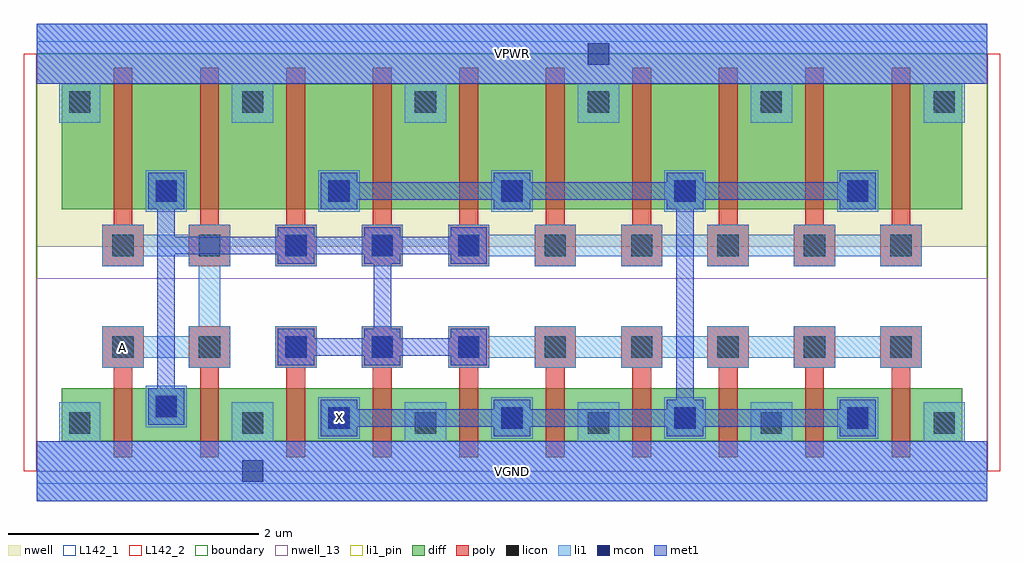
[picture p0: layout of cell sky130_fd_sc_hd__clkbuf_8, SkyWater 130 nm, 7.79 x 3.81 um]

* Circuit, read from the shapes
.subckt sky130_fd_sc_hd__clkbuf_8 A VGND VPWR X
XM1 n1 A VGND VSUBS sky130_fd_pr__nfet_01v8 w=0.42 l=0.15 m=2
XM2 X n1 VGND VSUBS sky130_fd_pr__nfet_01v8 w=0.42 l=0.15 m=8
XM3 n1 A VPWR n2 sky130_fd_pr__pfet_01v8 w=1 l=0.15 m=2
XM4 X n1 VPWR n2 sky130_fd_pr__pfet_01v8 w=1 l=0.15 m=8
.ends

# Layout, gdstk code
import gdstk
lib = gdstk.Library(unit=1e-6, precision=1e-09)
def R(c, l, rs):  # rectangles x0, y0, x1, y1
    for r in rs: c.add(gdstk.rectangle(r[:2], r[2:], *l))
def A(c, l, x, y, w, h, nx, ny, dx, dy):  # array of equal rectangles
    R(c, l, [(x+i*dx, y+j*dy, x+i*dx+w, y+j*dy+h) for i in range(nx) for j in range(ny)])
def P(c, l, *ps):  # polygons
    for p in ps: c.add(gdstk.Polygon(p, *l))
nwell_13 = (64, 13)
nwell = (64, 20)
diff = (65, 20)
poly = (66, 20)
licon = (66, 44)
li1_pin = (67, 16)
li1 = (67, 20)
mcon = (67, 44)
met1 = (68, 20)
L142_1 = (142, 1)
L142_2 = (142, 2)
boundary = (235, 4)

sky130_fd_sc_hd__clkbuf_ = lib.new_cell('sky130_fd_sc_hd__clkbuf_8')
R(sky130_fd_sc_hd__clkbuf_, nwell_13, [(0,0,7.59,1.54)])
R(sky130_fd_sc_hd__clkbuf_, nwell, [(0,1.79,7.59,3.33)])
A(sky130_fd_sc_hd__clkbuf_, diff, 0.615, 0.24, 0.69, 0.42, 9, 1, 0.69, 0)
A(sky130_fd_sc_hd__clkbuf_, diff, 0.615, 2.09, 0.69, 1, 9, 1, 0.69, 0)
R(sky130_fd_sc_hd__clkbuf_, diff, [(0.2,0.24,7.39,0.66), (0.2,0.24,0.615,0.66), (6.825,0.24,7.39,0.66), (0.2,2.09,7.39,3.09), (0.2,2.09,0.615,3.09), (6.825,2.09,7.39,3.09)])
P(sky130_fd_sc_hd__clkbuf_, poly, [(0.615,0.11),(0.615,0.825),(0.525,0.825),(0.525,1.155),(0.855,1.155),(0.855,0.825),(0.765,0.825),(0.765,0.11)],
  [(1.305,0.11),(1.305,0.825),(1.215,0.825),(1.215,1.155),(1.545,1.155),(1.545,0.825),(1.455,0.825),(1.455,0.11)],
  [(0.525,1.635),(0.525,1.965),(0.615,1.965),(0.615,3.22),(0.765,3.22),(0.765,1.965),(0.855,1.965),(0.855,1.635)],
  [(1.215,1.635),(1.215,1.965),(1.305,1.965),(1.305,3.22),(1.455,3.22),(1.455,1.965),(1.545,1.965),(1.545,1.635)],
  [(1.995,0.11),(1.995,0.825),(1.905,0.825),(1.905,1.155),(2.235,1.155),(2.235,0.825),(2.145,0.825),(2.145,0.11)],
  [(2.685,0.11),(2.685,0.825),(2.595,0.825),(2.595,1.155),(2.925,1.155),(2.925,0.825),(2.835,0.825),(2.835,0.11)],
  [(3.375,0.11),(3.375,0.825),(3.285,0.825),(3.285,1.155),(3.615,1.155),(3.615,0.825),(3.525,0.825),(3.525,0.11)],
  [(4.065,0.11),(4.065,0.825),(3.975,0.825),(3.975,1.155),(4.305,1.155),(4.305,0.825),(4.215,0.825),(4.215,0.11)],
  [(4.755,0.11),(4.755,0.825),(4.665,0.825),(4.665,1.155),(4.995,1.155),(4.995,0.825),(4.905,0.825),(4.905,0.11)],
  [(5.445,0.11),(5.445,0.825),(5.355,0.825),(5.355,1.155),(5.685,1.155),(5.685,0.825),(5.595,0.825),(5.595,0.11)],
  [(6.135,0.11),(6.135,0.825),(6.045,0.825),(6.045,1.155),(6.375,1.155),(6.375,0.825),(6.285,0.825),(6.285,0.11)],
  [(6.825,0.11),(6.825,0.825),(6.735,0.825),(6.735,1.155),(7.065,1.155),(7.065,0.825),(6.975,0.825),(6.975,0.11)],
  [(1.905,1.635),(1.905,1.965),(1.995,1.965),(1.995,3.22),(2.145,3.22),(2.145,1.965),(2.235,1.965),(2.235,1.635)],
  [(2.595,1.635),(2.595,1.965),(2.685,1.965),(2.685,3.22),(2.835,3.22),(2.835,1.965),(2.925,1.965),(2.925,1.635)],
  [(3.285,1.635),(3.285,1.965),(3.375,1.965),(3.375,3.22),(3.525,3.22),(3.525,1.965),(3.615,1.965),(3.615,1.635)],
  [(3.975,1.635),(3.975,1.965),(4.065,1.965),(4.065,3.22),(4.215,3.22),(4.215,1.965),(4.305,1.965),(4.305,1.635)],
  [(4.665,1.635),(4.665,1.965),(4.755,1.965),(4.755,3.22),(4.905,3.22),(4.905,1.965),(4.995,1.965),(4.995,1.635)],
  [(5.355,1.635),(5.355,1.965),(5.445,1.965),(5.445,3.22),(5.595,3.22),(5.595,1.965),(5.685,1.965),(5.685,1.635)],
  [(6.045,1.635),(6.045,1.965),(6.135,1.965),(6.135,3.22),(6.285,3.22),(6.285,1.965),(6.375,1.965),(6.375,1.635)],
  [(6.735,1.635),(6.735,1.965),(6.825,1.965),(6.825,3.22),(6.975,3.22),(6.975,1.965),(7.065,1.965),(7.065,1.635)])
A(sky130_fd_sc_hd__clkbuf_, licon, 0.26, 0.3, 0.17, 0.17, 6, 2, 1.38, 2.56)
A(sky130_fd_sc_hd__clkbuf_, licon, 2.33, 0.34, 0.17, 0.17, 4, 1, 1.38, 0)
A(sky130_fd_sc_hd__clkbuf_, licon, 0.605, 0.905, 0.17, 0.17, 10, 2, 0.69, 0.81)
A(sky130_fd_sc_hd__clkbuf_, licon, 0.95, 2.15, 0.17, 0.17, 5, 1, 1.38, 0)
R(sky130_fd_sc_hd__clkbuf_, licon, [(0.95,0.43,1.12,0.6)])
R(sky130_fd_sc_hd__clkbuf_, li1_pin, [(0,-0.24,7.59,0.24), (2.25,0.26,2.58,0.59), (0,3.09,7.59,3.57)])
P(sky130_fd_sc_hd__clkbuf_, li1_pin, [(0.525,0.825),(0.525,1.155),(0.855,1.155),(0.855,1.075),(1.215,1.075),(1.215,1.155),(1.295,1.155),(1.295,1.635),(1.215,1.635),(1.215,1.715),(0.855,1.715),(0.855,1.635),(0.525,1.635),(0.525,1.965),(0.855,1.965),(0.855,1.885),(1.215,1.885),(1.215,1.965),(1.545,1.965),(1.545,1.635),(1.465,1.635),(1.465,1.155),(1.545,1.155),(1.545,0.825),(1.215,0.825),(1.215,0.905),(0.855,0.905),(0.855,0.825)])
A(sky130_fd_sc_hd__clkbuf_, li1, 2.25, 0.26, 0.33, 0.33, 4, 1, 1.38, 0)
A(sky130_fd_sc_hd__clkbuf_, li1, 0.87, 2.07, 0.33, 0.33, 5, 1, 1.38, 0)
R(sky130_fd_sc_hd__clkbuf_, li1, [(0.87,0.35,1.2,0.68), (1.905,0.825,2.235,1.155), (2.595,0.825,2.925,1.155), (1.905,1.635,2.235,1.965), (2.595,1.635,2.925,1.965)])
P(sky130_fd_sc_hd__clkbuf_, li1, [(0.18,2.78),(0.18,3.09),(0,3.09),(0,3.57),(7.59,3.57),(7.59,3.09),(7.41,3.09),(7.41,2.78),(7.08,2.78),(7.08,3.09),(6.03,3.09),(6.03,2.78),(5.7,2.78),(5.7,3.09),(4.65,3.09),(4.65,2.78),(4.32,2.78),(4.32,3.09),(3.27,3.09),(3.27,2.78),(2.94,2.78),(2.94,3.09),(1.89,3.09),(1.89,2.78),(1.56,2.78),(1.56,3.09),(0.51,3.09),(0.51,2.78)],
  [(0,-0.24),(0,0.24),(0.18,0.24),(0.18,0.55),(0.51,0.55),(0.51,0.24),(1.56,0.24),(1.56,0.55),(1.89,0.55),(1.89,0.24),(2.94,0.24),(2.94,0.55),(3.27,0.55),(3.27,0.24),(4.32,0.24),(4.32,0.55),(4.65,0.55),(4.65,0.24),(5.7,0.24),(5.7,0.55),(6.03,0.55),(6.03,0.24),(7.08,0.24),(7.08,0.55),(7.41,0.55),(7.41,0.24),(7.59,0.24),(7.59,-0.24)],
  [(0.525,0.825),(0.525,1.155),(0.855,1.155),(0.855,1.075),(1.215,1.075),(1.215,1.155),(1.295,1.155),(1.295,1.635),(1.215,1.635),(1.215,1.715),(0.855,1.715),(0.855,1.635),(0.525,1.635),(0.525,1.965),(0.855,1.965),(0.855,1.885),(1.215,1.885),(1.215,1.965),(1.545,1.965),(1.545,1.635),(1.465,1.635),(1.465,1.155),(1.545,1.155),(1.545,0.825),(1.215,0.825),(1.215,0.905),(0.855,0.905),(0.855,0.825)],
  [(3.285,0.825),(3.285,1.155),(3.615,1.155),(3.615,1.075),(3.975,1.075),(3.975,1.155),(4.305,1.155),(4.305,1.075),(4.665,1.075),(4.665,1.155),(4.995,1.155),(4.995,1.075),(5.355,1.075),(5.355,1.155),(5.685,1.155),(5.685,1.075),(6.045,1.075),(6.045,1.155),(6.375,1.155),(6.375,1.075),(6.735,1.075),(6.735,1.155),(7.065,1.155),(7.065,0.825),(6.735,0.825),(6.735,0.905),(6.375,0.905),(6.375,0.825),(6.045,0.825),(6.045,0.905),(5.685,0.905),(5.685,0.825),(5.355,0.825),(5.355,0.905),(4.995,0.905),(4.995,0.825),(4.665,0.825),(4.665,0.905),(4.305,0.905),(4.305,0.825),(3.975,0.825),(3.975,0.905),(3.615,0.905),(3.615,0.825)],
  [(3.285,1.635),(3.285,1.965),(3.615,1.965),(3.615,1.885),(3.975,1.885),(3.975,1.965),(4.305,1.965),(4.305,1.885),(4.665,1.885),(4.665,1.965),(4.995,1.965),(4.995,1.885),(5.355,1.885),(5.355,1.965),(5.685,1.965),(5.685,1.885),(6.045,1.885),(6.045,1.965),(6.375,1.965),(6.375,1.885),(6.735,1.885),(6.735,1.965),(7.065,1.965),(7.065,1.635),(6.735,1.635),(6.735,1.715),(6.375,1.715),(6.375,1.635),(6.045,1.635),(6.045,1.715),(5.685,1.715),(5.685,1.635),(5.355,1.635),(5.355,1.715),(4.995,1.715),(4.995,1.635),(4.665,1.635),(4.665,1.715),(4.305,1.715),(4.305,1.635),(3.975,1.635),(3.975,1.715),(3.615,1.715),(3.615,1.635)])
A(sky130_fd_sc_hd__clkbuf_, mcon, 2.33, 0.34, 0.17, 0.17, 4, 1, 1.38, 0)
A(sky130_fd_sc_hd__clkbuf_, mcon, 1.985, 0.905, 0.17, 0.17, 3, 2, 0.69, 0.81)
A(sky130_fd_sc_hd__clkbuf_, mcon, 0.95, 2.15, 0.17, 0.17, 5, 1, 1.38, 0)
R(sky130_fd_sc_hd__clkbuf_, mcon, [(1.64,-0.085,1.81,0.085), (0.95,0.43,1.12,0.6), (4.4,3.245,4.57,3.415)])
R(sky130_fd_sc_hd__clkbuf_, met1, [(0,-0.24,7.59,0.24), (0,3.09,7.59,3.57)])
P(sky130_fd_sc_hd__clkbuf_, met1, [(0.89,0.37),(0.89,0.66),(0.965,0.66),(0.965,2.09),(0.89,2.09),(0.89,2.38),(1.18,2.38),(1.18,2.09),(1.105,2.09),(1.105,1.87),(1.925,1.87),(1.925,1.945),(2.215,1.945),(2.215,1.87),(2.615,1.87),(2.615,1.945),(2.905,1.945),(2.905,1.87),(3.305,1.87),(3.305,1.945),(3.595,1.945),(3.595,1.655),(3.305,1.655),(3.305,1.73),(2.905,1.73),(2.905,1.655),(2.83,1.655),(2.83,1.135),(2.905,1.135),(2.905,1.06),(3.305,1.06),(3.305,1.135),(3.595,1.135),(3.595,0.845),(3.305,0.845),(3.305,0.92),(2.905,0.92),(2.905,0.845),(2.615,0.845),(2.615,0.92),(2.215,0.92),(2.215,0.845),(1.925,0.845),(1.925,1.135),(2.215,1.135),(2.215,1.06),(2.615,1.06),(2.615,1.135),(2.69,1.135),(2.69,1.655),(2.615,1.655),(2.615,1.73),(2.215,1.73),(2.215,1.655),(1.925,1.655),(1.925,1.73),(1.105,1.73),(1.105,0.66),(1.18,0.66),(1.18,0.37)],
  [(2.27,0.28),(2.27,0.57),(2.56,0.57),(2.56,0.495),(3.65,0.495),(3.65,0.57),(3.94,0.57),(3.94,0.495),(5.03,0.495),(5.03,0.57),(5.105,0.57),(5.105,2.09),(5.03,2.09),(5.03,2.165),(3.94,2.165),(3.94,2.09),(3.65,2.09),(3.65,2.165),(2.56,2.165),(2.56,2.09),(2.27,2.09),(2.27,2.38),(2.56,2.38),(2.56,2.305),(3.65,2.305),(3.65,2.38),(3.94,2.38),(3.94,2.305),(5.03,2.305),(5.03,2.38),(5.32,2.38),(5.32,2.305),(6.41,2.305),(6.41,2.38),(6.7,2.38),(6.7,2.09),(6.41,2.09),(6.41,2.165),(5.32,2.165),(5.32,2.09),(5.245,2.09),(5.245,0.57),(5.32,0.57),(5.32,0.495),(6.41,0.495),(6.41,0.57),(6.7,0.57),(6.7,0.28),(6.41,0.28),(6.41,0.355),(5.32,0.355),(5.32,0.28),(5.03,0.28),(5.03,0.355),(3.94,0.355),(3.94,0.28),(3.65,0.28),(3.65,0.355),(2.56,0.355),(2.56,0.28)])
R(sky130_fd_sc_hd__clkbuf_, L142_1, [(0,-0.1,7.59,0), (0,3.33,7.59,3.43)])
R(sky130_fd_sc_hd__clkbuf_, L142_2, [(-0.1,0,0,3.33), (7.59,0,7.69,3.33)])
R(sky130_fd_sc_hd__clkbuf_, boundary, [(0,0,7.59,3.33)])
sky130_fd_sc_hd__clkbuf_.add(gdstk.Label('X', (2.415,0.425), layer=67, texttype=5))
sky130_fd_sc_hd__clkbuf_.add(gdstk.Label('A', (0.69,0.99), layer=67, texttype=5))
sky130_fd_sc_hd__clkbuf_.add(gdstk.Label('VGND', (3.795,0), layer=67, texttype=5))
sky130_fd_sc_hd__clkbuf_.add(gdstk.Label('VPWR', (3.795,3.33), layer=67, texttype=5))
sky130_fd_sc_hd__clkbuf_.add(gdstk.Label('VGND', (3.795,0), layer=68, texttype=5))
sky130_fd_sc_hd__clkbuf_.add(gdstk.Label('VPWR', (3.795,3.33), layer=68, texttype=5))

lib.write_gds('sky130_fd_sc_hd__clkbuf_8.gds')
